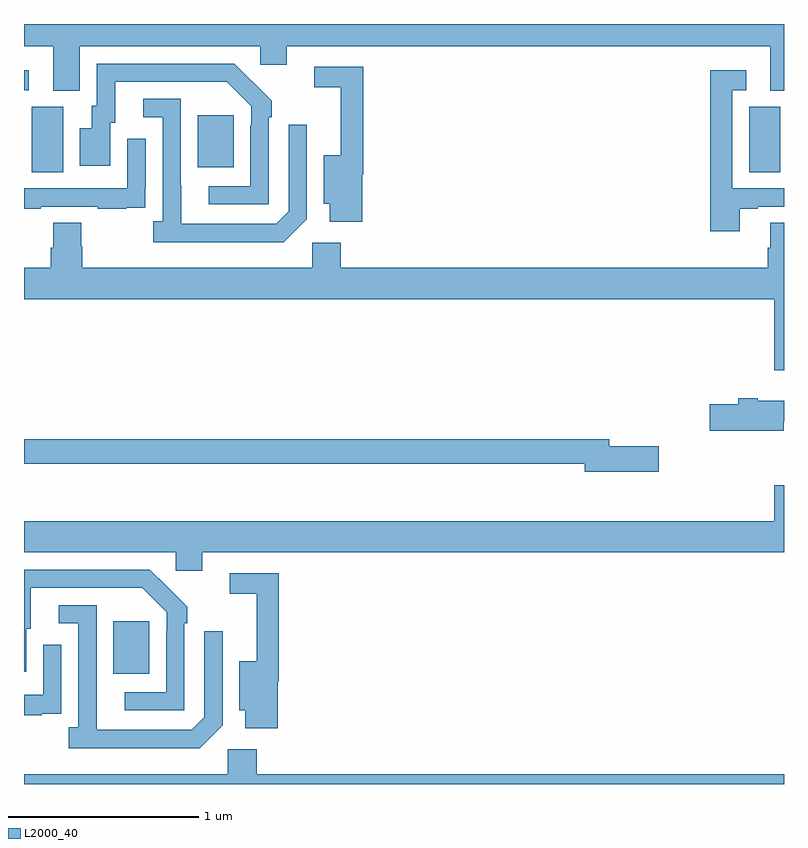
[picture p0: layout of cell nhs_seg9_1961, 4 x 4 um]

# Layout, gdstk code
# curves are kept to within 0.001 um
import gdstk
lib = gdstk.Library(unit=1e-6, precision=1e-09)
def R(c, l, rs):  # rectangles x0, y0, x1, y1
    for r in rs: c.add(gdstk.rectangle(r[:2], r[2:], *l))
def P(c, l, *ps):  # polygons
    for p in ps: c.add(gdstk.Polygon(p, *l))
L2000_40 = (2000, 40)

nhs_seg9_1961 = lib.new_cell('nhs_seg9_1961')
R(nhs_seg9_1961, L2000_40, [(221.471,1229.081,221.659,1229.356), (221.042,1231.72,221.206,1232.064), (224.816,1231.72,224.98,1232.064), (221.915,1231.745,222.103,1232.02), (221,1232.151,221.026,1232.257)])
P(nhs_seg9_1961, L2000_40, [(221.293,1232.384),(222.243,1232.384),(222.243,1232.286),(222.382,1232.286),(222.382,1232.384),(224.927,1232.384),(224.927,1232.149),(225,1232.149),(225,1232.5),(221,1232.5),(221,1232.384),(221.153,1232.384),(221.153,1232.149),(221.293,1232.149)],
  [(222.288,1232.009),(222.303,1232.009),(222.303,1232.097),(222.106,1232.292),(221.382,1232.292),(221.382,1232.07),(221.357,1232.07),(221.357,1231.951),(221.294,1231.951),(221.294,1231.755),(221.455,1231.755),(221.455,1231.98),(221.479,1231.98),(221.479,1232.196),(222.067,1232.196),(222.195,1232.067),(222.195,1231.967),(222.192,1231.967),(222.192,1231.647),(221.973,1231.647),(221.973,1231.551),(222.288,1231.551)],
  [(222.779,1231.706),(222.785,1231.706),(222.785,1232.274),(222.528,1232.274),(222.528,1232.166),(222.668,1232.166),(222.668,1231.81),(222.578,1231.81),(222.578,1231.553),(222.608,1231.553),(222.608,1231.458),(222.779,1231.458)],
  [(224.767,1231.527),(224.863,1231.527),(224.863,1231.539),(225,1231.539),(225,1231.635),(224.727,1231.635),(224.727,1232.151),(224.8,1232.151),(224.8,1232.257),(224.611,1232.257),(224.611,1231.41),(224.767,1231.41)],
  [(222.489,1231.473),(222.489,1231.969),(222.393,1231.969),(222.393,1231.515),(222.327,1231.449),(221.827,1231.449),(221.826,1232.106),(221.628,1232.106),(221.628,1232.01),(221.73,1232.01),(221.73,1231.462),(221.679,1231.462),(221.679,1231.352),(222.368,1231.352)],
  [(221.089,1231.539),(221.389,1231.539),(221.389,1231.527),(221.537,1231.527),(221.537,1231.533),(221.639,1231.533),(221.639,1231.642),(221.64,1231.642),(221.64,1231.897),(221.544,1231.897),(221.544,1231.635),(221,1231.635),(221,1231.527),(221.089,1231.527)],
  [(225,1231.454),(224.927,1231.454),(224.927,1231.322),(224.915,1231.322),(224.915,1231.216),(222.668,1231.216),(222.668,1231.348),(222.516,1231.348),(222.516,1231.216),(221.306,1231.216),(221.306,1231.329),(221.301,1231.329),(221.301,1231.454),(221.153,1231.454),(221.153,1231.322),(221.141,1231.322),(221.141,1231.216),(221,1231.216),(221,1231.052),(224.948,1231.052),(224.948,1230.678),(225,1230.678)],
  [(224.998,1230.408),(225,1230.408),(225,1230.517),(224.863,1230.517),(224.863,1230.53),(224.759,1230.53),(224.759,1230.5),(224.61,1230.5),(224.61,1230.358),(224.998,1230.358)],
  [(224.341,1230.278),(224.08,1230.278),(224.08,1230.314),(221,1230.314),(221,1230.186),(223.952,1230.186),(223.952,1230.143),(224.341,1230.143)],
  [(221.938,1229.72),(225,1229.72),(225,1230.073),(224.948,1230.073),(224.948,1229.884),(221,1229.884),(221,1229.72),(221.799,1229.72),(221.799,1229.622),(221.938,1229.622)],
  [(221.844,1229.345),(221.859,1229.345),(221.859,1229.433),(221.662,1229.628),(221,1229.628),(221,1229.091),(221.011,1229.091),(221.011,1229.316),(221.035,1229.316),(221.035,1229.532),(221.623,1229.532),(221.751,1229.403),(221.751,1229.303),(221.748,1229.303),(221.748,1228.983),(221.529,1228.983),(221.529,1228.887),(221.844,1228.887)],
  [(222.335,1229.042),(222.341,1229.042),(222.341,1229.61),(222.084,1229.61),(222.084,1229.502),(222.224,1229.502),(222.224,1229.146),(222.134,1229.146),(222.134,1228.889),(222.164,1228.889),(222.164,1228.794),(222.335,1228.794)],
  [(222.045,1228.809),(222.045,1229.305),(221.949,1229.305),(221.949,1228.851),(221.883,1228.785),(221.383,1228.785),(221.382,1229.442),(221.184,1229.442),(221.184,1229.346),(221.286,1229.346),(221.286,1228.798),(221.235,1228.798),(221.235,1228.688),(221.924,1228.688)],
  [(221.093,1228.869),(221.195,1228.869),(221.195,1228.978),(221.196,1228.978),(221.196,1229.233),(221.1,1229.233),(221.1,1228.971),(221,1228.971),(221,1228.863),(221.093,1228.863)],
  [(225,1228.552),(222.224,1228.552),(222.224,1228.684),(222.072,1228.684),(222.072,1228.552),(221,1228.552),(221,1228.5),(225,1228.5)])

lib.write_gds('nhs_seg9_1961.gds')
